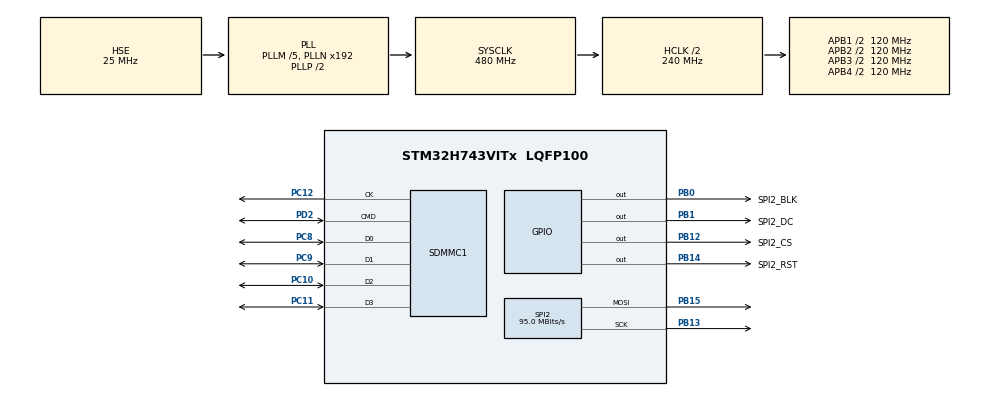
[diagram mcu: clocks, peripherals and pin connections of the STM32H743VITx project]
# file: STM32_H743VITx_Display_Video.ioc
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CORTEX_M7.CPU_DCache=Enabled
CORTEX_M7.CPU_ICache=Enabled
Dma.Request0=SPI2_TX
Dma.SPI2_TX.0.Direction=DMA_MEMORY_TO_PERIPH
Dma.SPI2_TX.0.EventEnable=ENABLE
Dma.SPI2_TX.0.FIFOMode=DMA_FIFOMODE_ENABLE
Dma.SPI2_TX.0.FIFOThreshold=DMA_FIFO_THRESHOLD_FULL
Dma.SPI2_TX.0.Instance=DMA1_Stream0
Dma.SPI2_TX.0.MemBurst=DMA_MBURST_SINGLE
Dma.SPI2_TX.0.MemDataAlignment=DMA_MDATAALIGN_BYTE
Dma.SPI2_TX.0.MemInc=DMA_MINC_ENABLE
Dma.SPI2_TX.0.Mode=DMA_NORMAL
Dma.SPI2_TX.0.PeriphBurst=DMA_PBURST_SINGLE
Dma.SPI2_TX.0.PeriphDataAlignment=DMA_PDATAALIGN_BYTE
Dma.SPI2_TX.0.PeriphInc=DMA_PINC_DISABLE
Dma.SPI2_TX.0.Polarity=HAL_DMAMUX_REQ_GEN_RISING
Dma.SPI2_TX.0.Priority=DMA_PRIORITY_VERY_HIGH
Dma.SPI2_TX.0.RequestNumber=1
Dma.SPI2_TX.0.SignalID=NONE
Dma.SPI2_TX.0.SyncEnable=DISABLE
Dma.SPI2_TX.0.SyncPolarity=HAL_DMAMUX_SYNC_NO_EVENT
Dma.SPI2_TX.0.SyncRequestNumber=1
Dma.SPI2_TX.0.SyncSignalID=NONE
FATFS.USE_DMA_CODE_SD=0
FATFS._CODE_PAGE=866
FATFS._FS_RPATH=1
FATFS._MAX_SS=512
FATFS._USE_LFN=2
Mcu.Family=STM32H7
Mcu.Name=STM32H743VITx
Mcu.Package=LQFP100
NVIC.DMA1_Stream0_IRQn=true\:0\:0\:false\:false\:true\:false\:true
NVIC.DMAMUX1_OVR_IRQn=true\:0\:0\:false\:false\:true\:false\:true
NVIC.PriorityGroup=NVIC_PRIORITYGROUP_4
NVIC.SDMMC1_IRQn=true\:0\:0\:false\:false\:true\:true\:true
NVIC.SPI2_IRQn=true\:0\:0\:false\:false\:true\:true\:true
PA13\ (JTMS/SWDIO).Mode=Serial_Wire
PA13\ (JTMS/SWDIO).Signal=DEBUG_JTMS-SWDIO
PA14\ (JTCK/SWCLK).Mode=Serial_Wire
PA14\ (JTCK/SWCLK).Signal=DEBUG_JTCK-SWCLK
PB0.GPIO_Label=SPI2_BLK
PB0.GPIO_Speed=GPIO_SPEED_FREQ_VERY_HIGH
PB0.Signal=GPIO_Output
PB1.GPIO_Label=SPI2_DC
PB1.GPIO_Speed=GPIO_SPEED_FREQ_VERY_HIGH
PB1.Signal=GPIO_Output
PB12.GPIO_Label=SPI2_CS
PB12.GPIO_Speed=GPIO_SPEED_FREQ_VERY_HIGH
PB12.PinState=GPIO_PIN_SET
PB12.Signal=GPIO_Output
PB13.GPIO_PuPd=GPIO_PULLUP
PB13.GPIO_Speed=GPIO_SPEED_FREQ_VERY_HIGH
PB13.Mode=TX_Only_Simplex_Unidirect_Master
PB13.Signal=SPI2_SCK
PB14.GPIO_Label=SPI2_RST
PB14.GPIO_Speed=GPIO_SPEED_FREQ_VERY_HIGH
PB14.Signal=GPIO_Output
PB15.GPIO_PuPd=GPIO_PULLUP
PB15.GPIO_Speed=GPIO_SPEED_FREQ_VERY_HIGH
PB15.Mode=TX_Only_Simplex_Unidirect_Master
PB15.Signal=SPI2_MOSI
PC10.GPIO_PuPd=GPIO_PULLUP
PC10.Mode=SD_4_bits_Wide_bus
PC10.Signal=SDMMC1_D2
PC11.GPIO_PuPd=GPIO_PULLUP
PC11.Mode=SD_4_bits_Wide_bus
PC11.Signal=SDMMC1_D3
PC12.GPIO_PuPd=GPIO_PULLUP
PC12.Mode=SD_4_bits_Wide_bus
PC12.Signal=SDMMC1_CK
PC8.GPIO_PuPd=GPIO_PULLUP
PC8.Mode=SD_4_bits_Wide_bus
PC8.Signal=SDMMC1_D0
PC9.GPIO_PuPd=GPIO_PULLUP
PC9.Mode=SD_4_bits_Wide_bus
PC9.Signal=SDMMC1_D1
PD2.GPIO_PuPd=GPIO_PULLUP
PD2.Mode=SD_4_bits_Wide_bus
PD2.Signal=SDMMC1_CMD
PH0-OSC_IN\ (PH0).Mode=HSE-External-Oscillator
PH0-OSC_IN\ (PH0).Signal=RCC_OSC_IN
PH1-OSC_OUT\ (PH1).Mode=HSE-External-Oscillator
PH1-OSC_OUT\ (PH1).Signal=RCC_OSC_OUT
ProjectManager.HeapSize=0x200
ProjectManager.StackSize=0x400
ProjectManager.TargetToolchain=STM32CubeIDE
RCC.ADCFreq_Value=47656250
RCC.APB1Freq_Value=120000000
RCC.APB2Freq_Value=120000000
RCC.APB3Freq_Value=120000000
RCC.APB4Freq_Value=120000000
RCC.CortexFreq_Value=480000000
RCC.D1PPRE=RCC_APB3_DIV2
RCC.D2PPRE1=RCC_APB1_DIV2
RCC.D2PPRE2=RCC_APB2_DIV2
RCC.D3PPRE=RCC_APB4_DIV2
RCC.DIVM1=5
RCC.DIVM2=16
RCC.DIVM3=25
RCC.DIVN1=192
RCC.DIVN2=122
RCC.DIVN3=380
RCC.DIVP2=4
RCC.DIVQ1=5
RCC.DIVR2=4
RCC.HCLKFreq_Value=240000000
RCC.HPRE=RCC_HCLK_DIV2
RCC.PLL2FRACN=0
RCC.PLL3FRACN=0
RCC.PLLFRACN=0
RCC.PLLSourceVirtual=RCC_PLLSOURCE_HSE
RCC.SDMMC1CLockSelection=RCC_SDMMCCLKSOURCE_PLL2
RCC.SPI123CLockSelection=RCC_SPI123CLKSOURCE_PLL3
RCC.SYSCLKFreq_VALUE=480000000
RCC.SYSCLKSource=RCC_SYSCLKSOURCE_PLLCLK
RCC.USBFreq_Value=192000000
SDMMC1.ClockDiv=0
SDMMC1.HardwareFlowControl=SDMMC_HARDWARE_FLOW_CONTROL_DISABLE
SPI2.BaudRatePrescaler=SPI_BAUDRATEPRESCALER_2
SPI2.CLKPhase=SPI_PHASE_1EDGE
SPI2.CLKPolarity=SPI_POLARITY_HIGH
SPI2.CalculateBaudRate=95.0 MBits/s
SPI2.DataSize=SPI_DATASIZE_8BIT
SPI2.Direction=SPI_DIRECTION_2LINES_TXONLY
SPI2.FifoThreshold=SPI_FIFO_THRESHOLD_01DATA
SPI2.Mode=SPI_MODE_MASTER
SPI2.NSSPMode=SPI_NSS_PULSE_DISABLE
SPI2.VirtualType=VM_MASTER
VP_FATFS_VS_SDIO.Mode=SDIO
board=custom

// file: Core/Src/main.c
/* USER CODE BEGIN Header */
/**
  ******************************************************************************
  * @file           : main.c
  * @brief          : Main program body
  ******************************************************************************
  * @attention
  *
  * <h2><center>&copy; Copyright (c) 2021 STMicroelectronics.
  * All rights reserved.</center></h2>
  *
  * This software component is licensed by ST under BSD 3-Clause license,
  * the "License"; You may not use this file except in compliance with the
  * License. You may obtain a copy of the License at:
  *                        opensource.org/licenses/BSD-3-Clause
  *
  ******************************************************************************
  */
/* USER CODE END Header */
#include "main.h"
#include "dma.h"
#include "fatfs.h"
#include "sdmmc.h"
#include "spi.h"
#include "gpio.h"

/* USER CODE BEGIN Includes */
#include "st7789.h"
#include "bitmap.h"
#include "fonts.h"
#include "bmp.h"

#include <string.h>
#include <stdio.h>
/* USER CODE END Includes */

/* USER CODE BEGIN PV */
FATFS fatfs;
DIR DirInfo;
FILINFO FileInfo;
char media_folder[] = "/media";
/* USER CODE END PV */

void SystemClock_Config(void);

int main(void)
{

  /* Enable I-Cache---------------------------------------------------------*/
  SCB_EnableICache();

  /* Enable D-Cache---------------------------------------------------------*/
  SCB_EnableDCache();

  /* MCU Configuration--------------------------------------------------------*/

  /* Reset of all peripherals, Initializes the Flash interface and the Systick. */
  HAL_Init();

  /* Configure the system clock */
  SystemClock_Config();

  /* Initialize all configured peripherals */
  MX_GPIO_Init();
  MX_SPI2_Init();
  MX_SDMMC1_SD_Init();
  MX_DMA_Init();
  MX_FATFS_Init();
  /* USER CODE BEGIN 2 */

  // включаем подсветку дисплея
  HAL_GPIO_WritePin( GPIOB, GPIO_PIN_0, GPIO_PIN_SET );

  // Процедура инициализации дисплея ST7789 240x240 1.3"
  ST7789_Init();

  // установка ротации дисплея не обязательно так как по умолчанию стоит режим 1 ( всего 4 режима 1,2,3,4 )
  ST7789_rotation( 1 );

  // закрашиваем весь экран указаным цветом
  ST7789_FillScreen( RGB565(0, 10, 100) );

  // печатаем символ ( один ) параметры: х,  у,  цвет символа, цвет фона, вкл/выкл фон, размер шрифта, множитель шрифта (увеличивает в х раз шрифт ), сам символ
  // ST7789_DrawChar( 20, 20, RGB565( 255, 255, 255 ) , RGB565( 0, 10, 10 ) , 0, &Font_16x26, 3, 'F' );

  // печатаем строку параметры: х,  у,  цвет строки, цвет фона, вкл/выкл фон, размер шрифта, множитель шрифта (увеличивает в х раз шрифт ), сама строка
  // для кирилицы используем функцию utf8rus, если только латиница то можно без нее
  ST7789_print( 1, 20, RGB565(255, 255, 255) , RGB565(0, 10, 100) , 1, &Font_16x26, 1, utf8rus("STM32 GUI IPS") );
  // незабываем каждый раз после вызова функции utf8rus() освобождать память
  // free( pText ); // освобождаем память выделенную в функции utf8rus() посредством malloc();
  free( pText );

  // печатаем строку параметры: х,  у,  цвет строки, цвет фона, вкл/выкл фон, размер шрифта, множитель шрифта (увеличивает в х раз шрифт ), сама строка
  // для кирилицы используем функцию utf8rus, если только латиница то можно без нее
  ST7789_print( 10, 160, RGB565(255, 0, 0) , RGB565(0, 10, 100) , 1, &Font_11x18, 1, utf8rus("NR.electronics !") );
  // незабываем каждый раз после вызова функции utf8rus() освобождать память
  // free( pText ); // освобождаем память выделенную в функции utf8rus() посредством malloc();
  free( pText );

  // печатаем строку параметры: х,  у,  цвет строки, цвет фона, вкл/выкл фон, размер шрифта, множитель шрифта (увеличивает в х раз шрифт ), сама строка
  // для кирилицы используем функцию utf8rus, если только латиница то можно без нее
  ST7789_print( 8, 200, RGB565(0, 255, 0) , RGB565(0, 10, 100) , 1, &Font_7x9, 2, utf8rus("ST7789 : 240x240") );
  // незабываем каждый раз после вызова функции utf8rus() освобождать память
  // free( pText ); // освобождаем память выделенную в функции utf8rus() посредством malloc();
  free( pText );

  // очистка экрана - закрашивает экран цветом черный
  // ST7789_Clear();

  // рисуем монохромную иконку. параметры координаты х и у, имя иконки ( массив ), размер иконки шир и выс, цвет отображения
  // ST7789_DrawBitmap( 60, 120, logo, 128, 27, RGB565(255, 0, 0) );

  // рисуем цветную иконку. параметры координаты х и у, размер иконки шир и выс, имя иконки ( массив )
  ST7789_DrawImage( 80, 65, 85, 80, logoRGB );

  // круг пустотелый
  //ST7789_DrawCircle(100, 100, 50, RGB565(255, 0, 255));

  // круг закрашеный
  //ST7789_DrawCircleFilled(200, 200, 20, RGB565(255, 40, 255)) ;

  // линия
  ST7789_DrawLine(1, 238, 239, 238, RGB565(255, 255, 0));

  // прямоугольник закрашеный
  //ST7789_DrawRectangleFilled(70, 200, 100, 20, RGB565(0, 255, 0)) ;

  // прямоугольник пустотелый
  //ST7789_DrawRectangle(70, 200, 100, 20, RGB565(0, 255, 50)) ;

  // рисуем треугольник пустотелый
  //ST7789_DrawTriangle(20, 40, 150, 100, 200, 200, RGB565(100, 255, 150) );

  // рисуем треугольник закрашеный
  //ST7789_DrawFilledTriangle(20, 40, 150, 100, 200, 200, RGB565(100, 255, 150) );

  // переход в спящий режим
  //ST7789_SleepModeEnter();

  // выход их спящего режима
  //ST7789_SleepModeExit();

  // вкл/выкл дисплея 0-выкл 1- вкл
  //ST7789_DisplayPower( 1 );

  // инверсия цветов 0-вкл  1-выкл
  //ST7789_InversionMode(1);

  FRESULT res;

//--
  HAL_Delay(2000);
  ST7789_Clear();
  ST7789_print( 0, 0, RGB565(255, 255, 255) , RGB565(0, 0, 0) , 1, &Font_11x18, 1, "Mount SD .. " );
  res = f_mount(&fatfs, SDPath, 1);
  if(res == FR_OK){
    ST7789_print( 150, 0, RGB565(255, 255, 255) , RGB565(0, 0, 0) , 1, &Font_11x18, 1, "OK" );
  }
  else{
    ST7789_print( 150, 0, RGB565(255, 255, 255) , RGB565(0, 0, 0) , 1, &Font_11x18, 1, "fail" );
    while(1)
    {}
  }
//--
  ST7789_print( 0, 20, RGB565(255, 255, 255) , RGB565(0, 0, 0) , 1, &Font_11x18, 1, "Open dir:" );
  ST7789_print( 150, 20, RGB565(255, 255, 255) , RGB565(0, 0, 0) , 1, &Font_11x18, 1, media_folder);
  res = f_chdir(media_folder);
  if(res == FR_OK){
    ST7789_print( 0, 40, RGB565(255, 255, 255) , RGB565(0, 0, 0) , 1, &Font_11x18, 1, "OK" );
  }
  else{
    ST7789_print( 0, 40, RGB565(255, 255, 255) , RGB565(0, 0, 0) , 1, &Font_11x18, 1, "fail" );
    while(1)
    {}
  }
//--
  while (1)
    {
      /* Получаем информацию о содержимом каталога */
      res = f_opendir(&DirInfo, "");

      while (1)
      {
        uint32_t t1 = HAL_GetTick();
        res = f_readdir(&DirInfo, &FileInfo);
        if (FileInfo.fname[0] == 0)// если нет файлов
          break;
        /* Находим имя файла */
        char* dot; //указатель на точку в имени файла
        if((dot = strrchr(FileInfo.fname, '.')) == 0) //если нет точки в имени
          break;

        if(strncmp(dot,".bmp",4) == 0)
        {
          DrawBMPImageFile(FileInfo.fname, 0, 0);
          //ST7789_print( 150, 100, RGB565(255, 255, 255) , RGB565(0, 0, 0) , 1, &Font_11x18, 1, FileInfo.fname);
        }
            uint32_t t2 = HAL_GetTick();
 //           char text[64]; //закомментировать, если не нужна отладка
 //           sprintf(text,"Time: %dms",(int)(t2-t1));
 //           ST7789_print( 0, 0, RGB565(0, 255, 255) , RGB565(0, 0, 0) , 1, &Font_11x18, 1, text);
//        HAL_Delay(1000);
      }
      f_closedir(&DirInfo);
    }

  /* USER CODE END 2 */

  /* Infinite loop */
  while (1)
  {

  }
}

void SystemClock_Config(void)
{
  RCC_OscInitTypeDef RCC_OscInitStruct = {0};
  RCC_ClkInitTypeDef RCC_ClkInitStruct = {0};

  /** Supply configuration update enable
  */
  HAL_PWREx_ConfigSupply(PWR_LDO_SUPPLY);
  /** Configure the main internal regulator output voltage
  */
  __HAL_PWR_VOLTAGESCALING_CONFIG(PWR_REGULATOR_VOLTAGE_SCALE0);

  while(!__HAL_PWR_GET_FLAG(PWR_FLAG_VOSRDY)) {}
  /** Macro to configure the PLL clock source
  */
  __HAL_RCC_PLL_PLLSOURCE_CONFIG(RCC_PLLSOURCE_HSE);
  /** Initializes the RCC Oscillators according to the specified parameters
  * in the RCC_OscInitTypeDef structure.
  */
  RCC_OscInitStruct.OscillatorType = RCC_OSCILLATORTYPE_HSE;
  RCC_OscInitStruct.HSEState = RCC_HSE_ON;
  RCC_OscInitStruct.PLL.PLLState = RCC_PLL_ON;
  RCC_OscInitStruct.PLL.PLLSource = RCC_PLLSOURCE_HSE;
  RCC_OscInitStruct.PLL.PLLM = 5;
  RCC_OscInitStruct.PLL.PLLN = 192;
  RCC_OscInitStruct.PLL.PLLP = 2;
  RCC_OscInitStruct.PLL.PLLQ = 5;
  RCC_OscInitStruct.PLL.PLLR = 2;
  RCC_OscInitStruct.PLL.PLLRGE = RCC_PLL1VCIRANGE_2;
  RCC_OscInitStruct.PLL.PLLVCOSEL = RCC_PLL1VCOWIDE;
  RCC_OscInitStruct.PLL.PLLFRACN = 0;
  if (HAL_RCC_OscConfig(&RCC_OscInitStruct) != HAL_OK)
  {
    Error_Handler();
  }
  /** Initializes the CPU, AHB and APB buses clocks
  */
  RCC_ClkInitStruct.ClockType = RCC_CLOCKTYPE_HCLK|RCC_CLOCKTYPE_SYSCLK
                              |RCC_CLOCKTYPE_PCLK1|RCC_CLOCKTYPE_PCLK2
                              |RCC_CLOCKTYPE_D3PCLK1|RCC_CLOCKTYPE_D1PCLK1;
  RCC_ClkInitStruct.SYSCLKSource = RCC_SYSCLKSOURCE_PLLCLK;
  RCC_ClkInitStruct.SYSCLKDivider = RCC_SYSCLK_DIV1;
  RCC_ClkInitStruct.AHBCLKDivider = RCC_HCLK_DIV2;
  RCC_ClkInitStruct.APB3CLKDivider = RCC_APB3_DIV2;
  RCC_ClkInitStruct.APB1CLKDivider = RCC_APB1_DIV2;
  RCC_ClkInitStruct.APB2CLKDivider = RCC_APB2_DIV2;
  RCC_ClkInitStruct.APB4CLKDivider = RCC_APB4_DIV2;

  if (HAL_RCC_ClockConfig(&RCC_ClkInitStruct, FLASH_LATENCY_4) != HAL_OK)
  {
    Error_Handler();
  }
}

void Error_Handler(void)
{
  __disable_irq();
  while (1)
  {
  }
}

/************************ (C) COPYRIGHT STMicroelectronics *****END OF FILE****/
